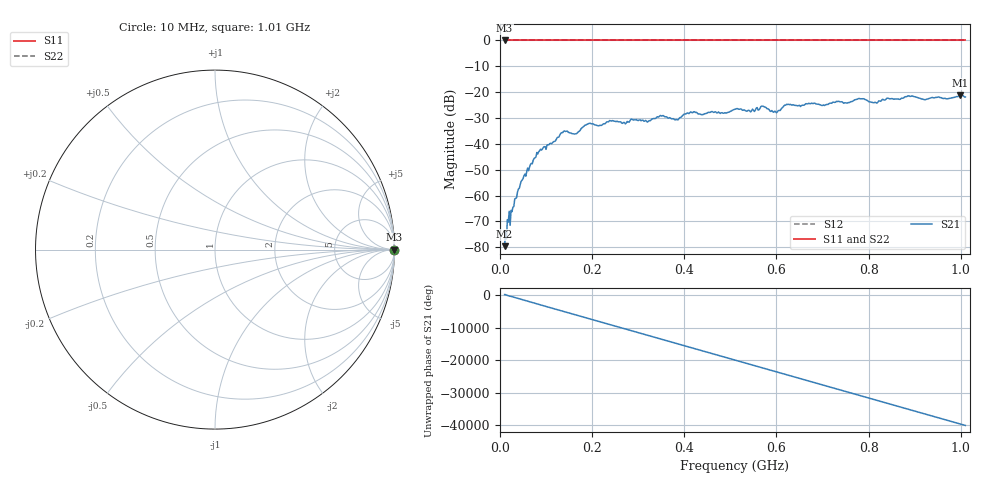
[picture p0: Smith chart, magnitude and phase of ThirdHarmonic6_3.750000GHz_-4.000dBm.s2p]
! 8/17/2025 12:51:28 PM
! C:\ANRITSUVNA\TEMP\TEMP.S2P
! CHANNEL.1
! TR.MEASUREMENT
! RAW.DATA
! RF.CORRECTION.OFF
! AVERAGING.OFF
! IF.BANDWIDTH: 5KHZ
! SWEEPTYPE:  FREQ.SWEEP(Linear)
! Reference Plane Port Info
! PORT:  PORT1  PORT2
! DISTANCE:  0  m  0  m
! TIME:  0  s  0  s
! PHASE.OFFSET:  0  deg.  0  deg.
! LOSS:  0  dB  0  dB
! REF.LOSS:  0  dB  0  dB
! REF.FREQ:  0  Hz  0  Hz
! Power Info
! POWER:  -20  dBm  -20  dBm
! EFF.POWER:  -20  dBm  -20  dBm
! SOURCE.ATTEN:  0  dB  0  dB
! TEST.ATTEN:  0  dB  0  dB
# GHZ S RI R 50.0
! FREQ.GHZ  S11RE  S11IM  S21RE  S21IM  S12RE  S12IM  S22RE  S22IM
!; PortSelection: Port_12
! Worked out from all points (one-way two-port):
!   501 points, 10 MHz to 1.01 GHz, reference 50 ohm
!   highest |S21| = -21.24 dB at 998 MHz (marker M1); lowest = -79.6 dB at 10 MHz (marker M2)
!   lowest |S11| = 0.0 dB at 10 MHz (marker M3)
!   |S11| at or under -10 dB: nowhere
!   |S22| runs from 0.0 to 0.0 dB; largest |S21 - S12| = 1.1
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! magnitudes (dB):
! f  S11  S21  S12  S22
! 10 MHz  0.0  -79.6  0.0  0.0
! 16 MHz  0.0  -69.3  0.0  0.0
! 42 MHz  0.0  -57.1  0.0  0.0
! 84 MHz  0.0  -43.0  0.0  0.0
! 136 MHz  0.0  -35.7  0.0  0.0
! 164 MHz  0.0  -36.1  0.0  0.0
! 178 MHz  0.0  -33.8  0.0  0.0
! 194 MHz  0.0  -32.1  0.0  0.0
! 322 MHz  0.0  -31.2  0.0  0.0
! 344 MHz  0.0  -29.7  0.0  0.0
! 384 MHz  0.0  -30.6  0.0  0.0
! 418 MHz  0.0  -28.0  0.0  0.0
! 510 MHz  0.0  -26.6  0.0  0.0
! 570 MHz  0.0  -25.4  0.0  0.0
! 598 MHz  0.0  -27.5  0.0  0.0
! 622 MHz  0.0  -24.7  0.0  0.0
! 678 MHz  0.0  -24.4  0.0  0.0
! 782 MHz  0.0  -22.6  0.0  0.0
! 814 MHz  0.0  -23.9  0.0  0.0
! 844 MHz  0.0  -22.5  0.0  0.0
! 998 MHz  0.0  -21.2  0.0  0.0
! 1.01 GHz  0.0  -21.9  0.0  0.0
